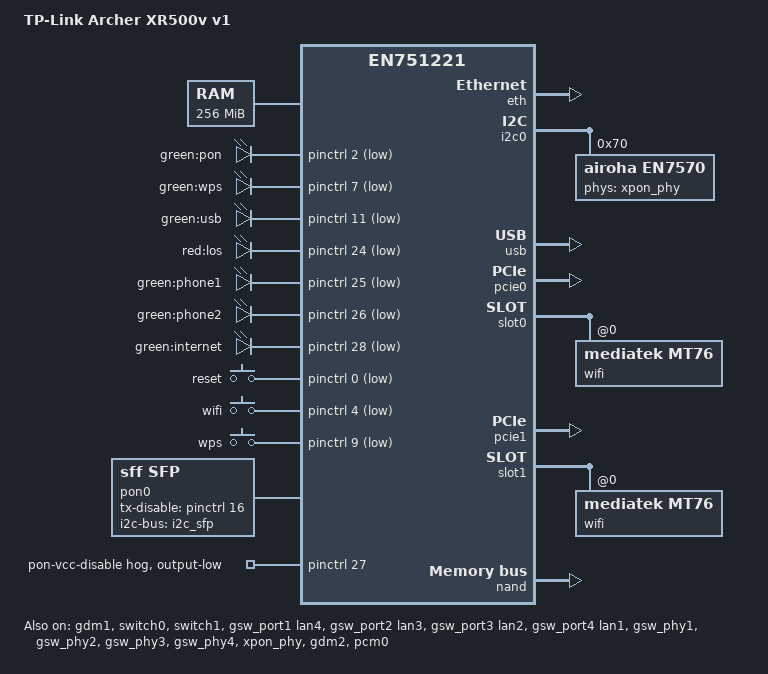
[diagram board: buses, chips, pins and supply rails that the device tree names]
// SPDX-License-Identifier: (GPL-2.0-only OR BSD-2-Clause)
/dts-v1/;

#include <dt-bindings/gpio/gpio.h>
#include <dt-bindings/input/input.h>

#include "en751221.dtsi"

/ {
	model = "TP-Link Archer XR500v v1";
	compatible = "tplink,archer-xr500v-v1", "econet,en751221";

	memory@0 {
		device_type = "memory";
		reg = <0x00000000 0x10000000>;
	};

	pcm0: pcm@1fbd0000 {
		compatible = "econet,en751221-pcm";
		reg = <0x1fbd0000 0x1000>;
		interrupt-parent = <&intc>;
		interrupts = <11>;
		status = "okay";
	};

	reserved-memory {
		#address-cells = <1>;
		#size-cells = <1>;
		ranges;

		ppe_foe: ppe-foe@dc00000 {
			reg = <0x0dc00000 0x00180000>;
			no-map;
		};

		/*
		 * The EN751221 QDMA_WAN exposes an 8 MiB HWF buffer window through
		 * the SLM, backed by the 4 MiB physical pool used by the OEM SDK.
		 * Keep it out of Linux RAM so the SLM can own it exclusively.
		 */
		qdma1_slm: qdma1-slm@d800000 {
			reg = <0x0d800000 0x00400000>;
			no-map;
		};
	};

	chosen {
		stdout-path = "/serial@1fbf0000:115200";
		/*
		 * loglevel=4: keep KERN_ERR and above on the console, everything else
		 * only in dmesg. The xPON driver emits ~89 dev_info() calls, several of
		 * them ~400-character register dumps, on every activation cycle. printk
		 * to a 115200 console is synchronous, so a single dump costs ~35 ms and
		 * a full cycle hundreds -- spent inside the ordered workqueue that runs
		 * the PLOAM state machine, i.e. exactly where GPON activation is timing
		 * sensitive. Nothing is lost: dmesg still has it all.
		 */
		/*
		 * v0.47: OEM-faithful upstream profile now that the BOSA rail is on.
		 * SLEEP_CNT=0xffffffff is loaded in gpon_dev_init() before O2, like the
		 * factory driver, and the software DBRu back door stays off so the MAC
		 * reports queue occupancy by itself (hardware DBRu).
		 */
		/* Hardware DBRu and sleep-counter defaults now live in the driver. */
		bootargs = "console=ttyS0,115200 loglevel=4";
		linux,usable-memory-range = <0x00020000 0x0ffe0000>;
	};

	/*
	 * Front-panel GPIOs recovered from the factory led_def table and already
	 * exercised by the previous XR500v OpenWrt tree.  GPON/LOS are left
	 * without a default trigger until their state policy is validated below.
	 */
	leds {
		compatible = "gpio-leds";

		led_pon: led-pon {
			label = "green:pon";
			gpios = <&pinctrl 2 GPIO_ACTIVE_LOW>;
			default-state = "off";
		};

		led_wps: led-wps {
			label = "green:wps";
			gpios = <&pinctrl 7 GPIO_ACTIVE_LOW>;
			default-state = "off";
		};

		led_usb: led-usb {
			label = "green:usb";
			gpios = <&pinctrl 11 GPIO_ACTIVE_LOW>;
			default-state = "off";
		};

		led_los: led-los {
			label = "red:los";
			gpios = <&pinctrl 24 GPIO_ACTIVE_LOW>;
			default-state = "off";
		};

		led_phone1: led-phone1 {
			label = "green:phone1";
			gpios = <&pinctrl 25 GPIO_ACTIVE_LOW>;
			default-state = "off";
		};

		led_phone2: led-phone2 {
			label = "green:phone2";
			gpios = <&pinctrl 26 GPIO_ACTIVE_LOW>;
			default-state = "off";
		};

		led_internet: led-internet {
			label = "green:internet";
			gpios = <&pinctrl 28 GPIO_ACTIVE_LOW>;
			default-state = "off";
		};
	};

	keys {
		compatible = "gpio-keys-polled";
		poll-interval = <20>;

		key-reset {
			label = "reset";
			linux,code = <KEY_RESTART>;
			gpios = <&pinctrl 0 GPIO_ACTIVE_LOW>;
			debounce-interval = <60>;
		};

		key-wifi {
			label = "wifi";
			linux,code = <KEY_RFKILL>;
			gpios = <&pinctrl 4 GPIO_ACTIVE_LOW>;
			debounce-interval = <60>;
		};

		key-wps {
			label = "wps";
			linux,code = <KEY_WPS_BUTTON>;
			gpios = <&pinctrl 9 GPIO_ACTIVE_LOW>;
			debounce-interval = <60>;
		};
	};

	/* Optics through the standard SFP subsystem.
	 *
	 * TX_DISABLE is GPIO 16, ACTIVE HIGH: driving it high asserts TX_DISABLE,
	 * i.e. the laser is OFF. Verified on hardware against the OEM led_def table
	 * (led_no 42 -> gpio 16) and by sampling the pin; note the OEM
	 * ledCtrl[].onoff field is a polarity setting, not a state, which inverts
	 * the naive reading of the vendor code.
	 *
	 * The pin belongs to the sfp core, which de-asserts it in
	 * sfp_module_tx_enable() and only then lets the GPON MAC rearm the EN7570
	 * safe circuit (airoha_lddla_tx_rearm(), whose kdoc requires exactly that
	 * order). Claiming the pin elsewhere breaks the sequence: the latch reset
	 * does not take while TX_DISABLE is still asserted and the laser stays
	 * clamped at ibias=0/imod=0 forever.
	 *
	 * During bring-up this board deliberately held the pin outside the sfp with
	 * a gpio-export, as a hardware barrier against transmitting onto a live ISP
	 * PON before the stack was trusted. That barrier has served its purpose --
	 * the ONU now reaches and holds O5 -- so the pin goes back where it belongs.
	 */
	pon0: pon0 {
		compatible = "sff,sfp";
		i2c-bus = <&i2c_sfp>;
		tx-disable-gpios = <&pinctrl 16 GPIO_ACTIVE_HIGH>;
	};

	/*
	 * Autonomous cold-boot profile: the SFP core owns GPIO16. It first
	 * asserts TX_DISABLE, then deasserts it before module_start(), whose xPON
	 * callback rearms the EN7570 and starts the GPON MAC in that order.
	 */
};

&eth {
	memory-region = <&ppe_foe>, <&qdma1_slm>;
	memory-region-names = "ppe-foe", "qdma1-slm";
	status = "okay";
};

&gdm1 {
	nvmem-cells = <&macaddr_misc_f100 0>;
	nvmem-cell-names = "mac-address";
	status = "okay";
};

&switch0 {
	status = "okay";
};

&switch1 {
	status = "okay";
};

/* XR500v case labels are reversed relative to the companion switch ports. */
&gsw_port1 {
	label = "lan4";
	status = "okay";
};

&gsw_port2 {
	label = "lan3";
	status = "okay";
};

&gsw_port3 {
	label = "lan2";
	status = "okay";
};

&gsw_port4 {
	label = "lan1";
	status = "okay";
};

&gsw_phy1 {
	status = "okay";
};

&gsw_phy2 {
	status = "okay";
};

&gsw_phy3 {
	status = "okay";
};

&gsw_phy4 {
	status = "okay";
};

/* ---- xPON -------------------------------------------------------------
 * The XR500v carries an Airoha LDD/LA answering on I2C 0x70, not the Semtech
 * GN25L95 on the Mitrastar board. Bound as en7570, matching the other EN751221
 * boards (Genexis Platinum-4410, Jiuzhou EN7526GT); en7571 only appears on
 * EN7523 boards. Both drivers read the same two registers and expect 0x03 at
 * 0x0170, but 0x015c is a stashed variant byte for en7570 and a rejecting
 * revision floor for en7571 -- this part reads 0x01 there.
 *
 * Calibration data normally comes from the "bob" partition in flash via
 * nvmem. This profile keeps SPI-NAND disabled for RAM-boot safety, so the
 * nvmem-cells reference is deliberately left out: on this board the PHY RX
 * impedance auto-calibration succeeds on its own (ANACAL1 rx-imp code=20),
 * unlike the JCOW407 where it rails to 0 and has to be forced.
 */
&i2c0 {
	status = "okay";

	en7570: lddla@70 {
		compatible = "airoha,en7570";
		reg = <0x70>;
		phys = <&xpon_phy>;
		phy-names = "xpon";
		/* Factory LDD/LA calibration: 100 big-endian words in "misc". */
		nvmem-cells = <&en7570_cal>;
		nvmem-cell-names = "calibration";

		i2c_sfp: i2c-sfp {
			#address-cells = <1>;
			#size-cells = <0>;
		};
	};
};

&xpon_phy {
	status = "okay";
};

&xpon {
	/* Reference export: optical service is disabled until provisioned. */
	status = "disabled";
	/* Order consumed by airoha-xpon: GPON status, then LOS. */
	leds = <&led_pon>, <&led_los>;
	led-names = "pon", "los";

	/* Optical provisioning is configured separately from board wiring. */

	sfp = <&pon0>;
};

&gdm2 {
	nvmem-cells = <&macaddr_misc_f100 1>;
	nvmem-cell-names = "mac-address";
	status = "okay";
	phy-mode = "internal";
};

&usb {
	/* The XR500v exposes the USB 2.0 lane of this dual-role controller. */
	mediatek,u3p-dis-msk = <0x1>;
	status = "okay";
};

&pcie0 {
	status = "okay";
	/* MT7603 requires the vendor config-TLP format and a post-PHY reset. */
	econet,en751221-port0-quirks;
	econet,en751221-scu = <&scuclk>;
};

&slot0 {
	wifi@0,0 {
		compatible = "mediatek,mt76";
		reg = <0x0000 0 0 0 0>;

		/*
		 * MT7603 expects a 1 KiB EEPROM. mt76 zero-initializes that
		 * buffer before copying this compact 256-byte non-zero prefix;
		 * valid calibration-free fields are then merged from eFuse.
		 */
		mediatek,eeprom-data = [
			03 76 00 00 02 76 03 50 00 01 00 00 00 00 00 00
			00 00 00 00 00 00 00 00 00 00 00 00 00 00 00 00
			00 00 00 00 00 00 00 00 00 00 00 00 00 00 00 00
			00 00 00 00 22 00 00 00 00 00 00 00 00 00 00 00
			00 00 00 00 00 00 00 00 00 00 00 00 00 00 00 00
			00 00 00 00 00 b8 40 c8 20 00 00 00 40 c8 20 00
			00 00 00 00 00 00 00 00 00 00 00 00 00 00 00 00
			00 00 00 00 00 00 00 00 00 00 00 00 00 00 00 00
			00 00 00 00 00 00 00 00 00 00 00 00 00 00 00 00
			00 00 00 00 00 00 00 00 00 00 00 00 00 00 00 00
			00 00 00 00 00 00 00 00 00 00 00 00 00 00 00 00
			00 00 00 00 00 00 00 00 00 00 00 00 00 00 00 00
			00 00 00 00 00 00 00 00 00 00 00 00 00 00 00 00
			00 00 00 00 00 00 00 00 00 00 00 00 00 00 00 00
			00 00 00 00 00 00 00 00 00 00 00 00 00 00 00 00
			05 00 00 00 a4 00 00 88 00 00 00 00 00 00 00 00
		];
		mediatek,eeprom-merge-otp;
		mediatek,gpio-led;
		nvmem-cells = <&macaddr_misc_f100 1>;
		nvmem-cell-names = "mac-address";
	};
};

&pcie1 {
	status = "okay";
};

&slot1 {
	wifi@0,0 {
		compatible = "mediatek,mt76";
		reg = <0x0000 0 0 0 0>;
		nvmem-cells = <&eeprom_misc_e0000>, <&macaddr_misc_f100 2>;
		nvmem-cell-names = "eeprom", "mac-address";

		led {
			led-sources = <2>;
			led-active-low;
		};
	};
};

/*
 * BOSA transmitter supply enable. The shipping XR500v phy.ko ends
 * pon_phy_init() with gpio_BOSA_Tx_power_on(), which the GPL source spells
 * ledTurnOff(LED_PHY_VCC_DISABLE) ("turn on BOSA Tx 3V3") and the binary
 * resolves to GPIO 27 driven low (GPIO_CTRL1[23:22]=01, OE bit 27, DATA bit
 * 27 = 0). Left alone, the pin floats high through its pull-up, i.e.
 * VCC_DISABLE stays asserted: the laser still lights for short bursts but the
 * supply collapses inside long ones, which is exactly the TX_SD_FAIL /
 * rogue / Deactivate_ONU-ID signature on every allocation above ~2 KB and
 * the 60 Mbit/s upstream ceiling. Measured on the same cold boot with the
 * pin as input vs. driven low: 19 vs 294 Mbit/s at a 3072-byte report, and
 * 403 Mbit/s with the hardware DBRu report -- parity with the OEM firmware.
 *
 * A hog applies at gpiochip registration, before the SFP core claims GPIO 16,
 * which floats high (TX_DISABLE asserted) until then, so the rail comes up
 * with the transmitter safely disabled, matching the OEM order
 * (gpio_tx_dis_reset() before gpio_BOSA_Tx_power_on()).
 */
&pinctrl {
	pon_vcc_enable: pon-vcc-enable-hog {
		gpio-hog;
		gpios = <27 GPIO_ACTIVE_HIGH>;
		output-low;
		line-name = "pon-vcc-disable";
	};
};

/* ---- NAND / OEM layout ------------------------------------------------
 * Slot A (kernel/rootfs_stock) is the untouched TP-Link firmware; slot B
 * (kernel1/rootfs1) is where OpenWrt lives and what bflag=1 boots.  The
 * bad-block table is the EcoNet BMT the BLDR itself uses; the driver is
 * configured fail-closed: no dynamic remaps, write-through, and it refuses
 * to attach unless the reserve geometry is the one tested on this board.
 */
&nand {
	status = "okay";
	econet,bmt;
	econet,esmt-f50l1g41a-oem-fdm;
	econet,bmt-write-through;
	econet,assert-reserve-size = <94>;

	partitions {
		compatible = "fixed-partitions";
		#address-cells = <1>;
		#size-cells = <1>;

		partition@0 {
			label = "bootloader";
			reg = <0x0 0x40000>;
			read-only;
		};

		partition@40000 {
			label = "romfile";
			reg = <0x40000 0x40000>;
			read-only;
		};

		partition@80000 {
			label = "kernel";
			reg = <0x80000 0x300000>;
			read-only;
		};

		partition@380000 {
			label = "rootfs_stock";
			reg = <0x380000 0x1000000>;
			read-only;
		};

		partition@1380000 {
			label = "misc";
			reg = <0x1380000 0x480000>;
			read-only;

			nvmem-layout {
				compatible = "fixed-layout";
				#address-cells = <1>;
				#size-cells = <1>;

				macaddr_misc_f100: macaddr@f100 {
					compatible = "mac-base";
					reg = <0xf100 0x6>;
					#nvmem-cell-cells = <1>;
				};

				/* EN7570 calibration blob: magic 0x07050700 at +0x94. */
				en7570_cal: calibration@20000 {
					reg = <0x20000 0x190>;
				};

				eeprom_misc_e0000: eeprom@e0000 {
					reg = <0xe0000 0x200>;
				};
			};
		};

		partition@1800000 {
			label = "kernel1";
			reg = <0x1800000 0x300000>;
		};

		partition@1b00000 {
			label = "rootfs1";
			reg = <0x1b00000 0x1000000>;
			linux,rootfs;
		};

		partition@2b00000 {
			label = "others";
			reg = <0x2b00000 0x4e0000>;
			read-only;
		};

		partition@2fe0000 {
			label = "bootflag";
			reg = <0x2fe0000 0x20000>;
			read-only;
		};

		/* Dedicated OpenWrt overlay in the OEM-unallocated range, apart
		 * from the 16 MiB firmware slots and the BMT reserve at the end. */
		partition@3000000 {
			label = "openwrt_ubi";
			reg = <0x3000000 0x4000000>;
		};
	};
};
